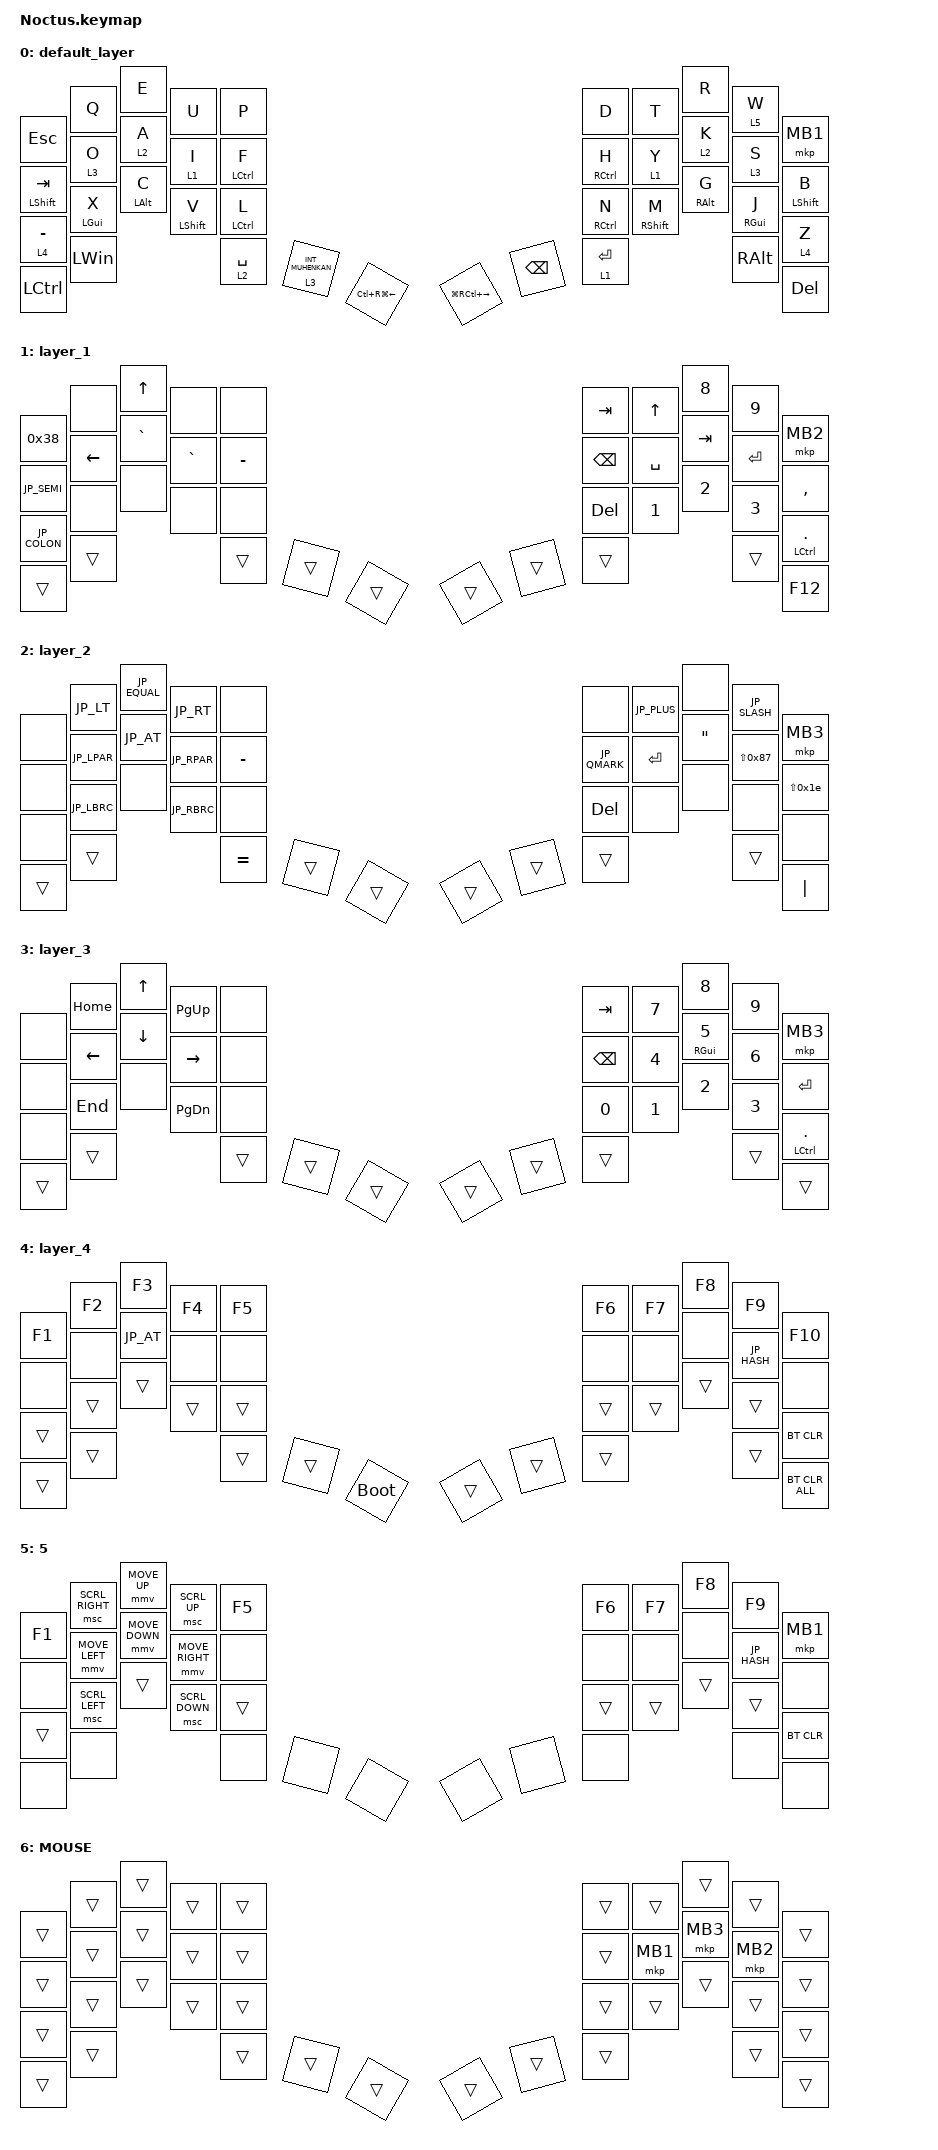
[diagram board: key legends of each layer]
#include <behaviors.dtsi>
#include <dt-bindings/zmk/bt.h>
#include <dt-bindings/zmk/keys.h>
#include <dt-bindings/zmk/pointing.h>
#include "keycode_japanese.h"

&mt { 
    flavor = "balanced"; 
    tapping-term-ms = <200>;
    quick-tap-ms = <150>; 
};

&lt {
    flavor = "balanced";
    tapping-term-ms = <200>; 
    quick-tap-ms = <150>; 
};

/ {
    combos { compatible = "zmk,combos";

       bt_clr_all {
            bindings = <&bt BT_CLR_ALL>;
            key-positions = <31 35 36 40>;
            layers = <0>;
        };

       bt0 {
            bindings = <&bt BT_SEL 0>;
            key-positions = <5 15 25>;
            layers = <0>;
        };

        bt1 {
            bindings = <&bt BT_SEL 1>;
            key-positions = <6 16 26>;
            layers = <0>;
        };

       bootloader_R {
            bindings = <&bootloader>;
            key-positions = <5 9 25 29>;
            timeout-ms = <100>;
        };

       bootloader_L {
            bindings = <&bootloader>;
            key-positions = <0 4 20 24>;
            timeout-ms = <100>;
        };


         fopen {
            bindings = <&kp LG(N2)>;
            key-positions = <8 9>;
            timeout-ms = <50>;
        };

};

    macros {
        to_layer_0: to_layer_0 {
            compatible = "zmk,behavior-macro-one-param";
            #binding-cells = <1>;
            bindings = <&to 0 &macro_param_1to1 &kp MACRO_PLACEHOLDER>;
            label = "TO_LAYER_0";
        };
    };

        lt_to_layer_0: lt_to_layer_0 {
            compatible = "zmk,behavior-hold-tap";
            label = "LAYER_TAP_TO_0";
            bindings = <&mo>, <&to_layer_0>;

            #binding-cells = <2>;
            tapping-term-ms = <200>;
        };
    };

    // キー番号早見表：
    // 0  1  2  3  4           5  6  7  8  9
    // 10 11 12 13 14          15 16 17 18 19
    // 20 21 22 23 24          25 26 27 28 29
    // 31 32 33 34 35          36 37 38 39 40






/ {
      keymap {
        compatible = "zmk,keymap";
        default_layer {
            bindings = <
&kp ESCAPE          &kp Q        &kp E      &kp U         &kp P                                    &kp D        &kp T         &kp R       &lt 5 W       &mkp MB1
&mt LSHIFT TAB      &lt 3 O        &lt 2 A      &lt 1 I         &mt LCTRL F                              &mt RCTRL H  &lt 1 Y         &lt 2 K       &lt 3 S       &mt LEFT_SHIFT B
&lt 4 MINUS    &mt LGUI X   &mt LALT C &mt LSHIFT V  &mt LCTRL L                                   &mt RCTRL N        &mt RSHIFT M  &mt RALT G  &mt RGUI J  &lt 4 Z
&kp LCTRL         &kp LEFT_WIN          &lt 2 SPACE  &lt 3 INT_MUHENKAN &kp LC(RG(LEFT))        &kp LG(RC(RIGHT))  &kp BACKSPACE  &lt 1 ENTER                      &kp RIGHT_ALT &kp DEL
            >;
        };

        layer_1 {
            bindings = <
   &kp 0x38     &none      &kp UP     &none       &none                                 &kp TAB          &kp UP          &kp N8        &kp N9         &mkp MB2
   &kp JP_SEMI  &kp LEFT   &kp GRAVE  &kp GRAVE   &kp MINUS                             &kp BACKSPACE  &kp SPACE       &kp TAB       &kp ENTER      &kp COMMA 
   &kp JP_COLON &none      &none      &none       &none                                 &kp DELETE     &kp N1          &kp N2        &kp N3         &mt LCTRL PERIOD
&trans  &trans                  &trans  &trans &trans    &trans &trans  &trans                  &trans  &kp F12
            >;
        };

        layer_2 {
            bindings = <
&none        &kp JP_LT      &kp JP_EQUAL   &kp JP_RT  &none                                        &none          &kp JP_PLUS     &none        &kp JP_SLASH  &mkp MB3
&none        &kp JP_LPAR    &kp JP_AT      &kp JP_RPAR   &kp MINUS                                 &kp JP_QMARK   &kp ENTER  &kp DOUBLE_QUOTES &kp LS(0x87)  &kp LS(0x1e)
&none        &kp JP_LBRC    &none          &kp JP_RBRC   &none                                     &kp DELETE          &none           &none         &none         &none
&trans                      &trans                                             &kp EQUAL &trans &trans   &trans &trans &trans                                               &trans                &kp PIPE
            >;
        };

        layer_3 {
            bindings = <
&none        &kp HOME   &kp UP     &kp PAGE_UP      &none                                 &kp TAB          &kp N7          &kp N8        &kp N9         &mkp MB3
&none        &kp LEFT   &kp DOWN   &kp RIGHT        &none                                 &kp BACKSPACE  &kp N4          &mt RGUI N5        &kp N6         &kp ENTER
&none        &kp END    &none      &kp PAGE_DOWN    &none                                 &kp N0         &kp N1          &kp N2        &kp N3         &mt LCTRL PERIOD
&trans          &trans                                                           &trans &trans &trans   &trans &trans  &trans                  &trans  &trans
            >;
        };

        layer_4 {
            bindings = <
&kp F1  &kp F2  &kp F3  &kp F4  &kp F5                  &kp F6  &kp F7  &kp F8  &kp F9  &kp F10
&none   &none   &kp JP_AT   &none   &none                   &none   &none   &none   &kp JP_HASH   &none
&trans  &trans  &trans  &trans  &trans                                     &trans        &trans        &trans        &trans        &bt BT_CLR
&trans  &trans                  &trans  &trans &bootloader   &trans &trans &trans                                    &trans        &bt BT_CLR_ALL
            >;
        };

        5{
            bindings = <
&kp F1  &msc SCRL_RIGHT  &mmv MOVE_UP     &msc SCRL_UP  &kp F5                  &kp F6  &kp F7  &kp F8  &kp F9  &mkp MB1
&none   &mmv MOVE_LEFT   &mmv MOVE_DOWN   &mmv MOVE_RIGHT   &none                   &none   &none   &none   &kp JP_HASH   &none
&trans  &msc SCRL_LEFT   &trans           &msc SCRL_DOWN  &trans                                     &trans        &trans        &trans        &trans        &bt BT_CLR

&none       &none   &none   &none   &none                                         &none          &none    &none   &none           &none
            >;
        };


        MOUSE {
            bindings = <
&trans  &trans  &trans  &trans  &trans                                 &trans  &trans    &trans    &trans    &trans
&trans  &trans  &trans  &trans  &trans                                 &trans  &mkp MB1  &mkp MB3  &mkp MB2  &trans
&trans  &trans  &trans  &trans  &trans                                 &trans  &trans    &trans    &trans    &trans
&trans  &trans                  &trans  &trans &trans   &trans &trans  &trans                      &trans    &trans
            >;
        };
    };
};
